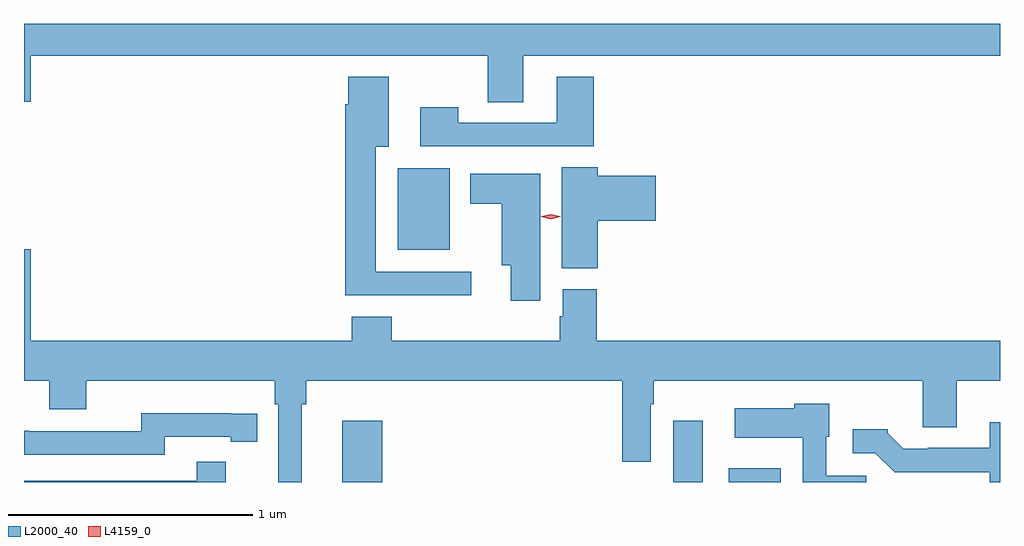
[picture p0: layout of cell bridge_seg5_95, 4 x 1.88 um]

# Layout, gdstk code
import gdstk
lib = gdstk.Library(unit=1e-6, precision=1e-09)
def R(c, l, rs):  # rectangles x0, y0, x1, y1
    for r in rs: c.add(gdstk.rectangle(r[:2], r[2:], *l))
def P(c, l, *ps):  # polygons
    for p in ps: c.add(gdstk.Polygon(p, *l))
L2000_40 = (2000, 40)
L4159_0 = (4159, 0)

bridge_seg5_95 = lib.new_cell('bridge_seg5_95')
R(bridge_seg5_95, L2000_40, [(502.112,913.62,502.276,913.873), (503.468,913.62,503.59,913.873), (503.697,913.62,503.91,913.677), (502.34,914.573,502.552,914.908)])
P(bridge_seg5_95, L2000_40, [(502.855,915.368),(504.808,915.368),(504.808,915.5),(500.808,915.5),(500.808,915.18),(500.836,915.18),(500.836,915.368),(502.708,915.368),(502.708,915.178),(502.855,915.178)],
  [(503.144,915.283),(502.991,915.283),(502.991,915.093),(502.587,915.093),(502.587,915.157),(502.431,915.157),(502.431,914.997),(503.144,914.997)],
  [(502.642,914.484),(502.249,914.484),(502.249,914.996),(502.303,914.996),(502.303,915.283),(502.136,915.283),(502.136,915.17),(502.124,915.17),(502.124,914.387),(502.642,914.387)],
  [(503.159,914.693),(503.398,914.693),(503.398,914.876),(503.159,914.876),(503.159,914.912),(503.012,914.912),(503.012,914.497),(503.159,914.497)],
  [(502.924,914.884),(502.637,914.884),(502.637,914.762),(502.766,914.762),(502.766,914.51),(502.802,914.51),(502.802,914.364),(502.924,914.364)],
  [(500.836,914.575),(500.808,914.575),(500.808,914.036),(500.912,914.036),(500.912,913.919),(501.064,913.919),(501.064,914.036),(501.836,914.036),(501.836,913.94),(501.849,913.94),(501.849,913.62),(501.946,913.62),(501.946,913.94),(501.965,913.94),(501.965,914.036),(503.26,914.036),(503.26,913.704),(503.376,913.704),(503.376,913.94),(503.389,913.94),(503.389,914.036),(504.491,914.036),(504.491,913.846),(504.631,913.846),(504.631,914.036),(504.808,914.036),(504.808,914.2),(503.156,914.2),(503.156,914.412),(503.015,914.412),(503.015,914.301),(503.003,914.301),(503.003,914.2),(502.316,914.2),(502.316,914.299),(502.151,914.299),(502.151,914.2),(500.836,914.2)],
  [(504.259,913.647),(504.096,913.647),(504.096,913.806),(504.109,913.806),(504.109,913.942),(503.964,913.942),(503.964,913.924),(503.721,913.924),(503.721,913.802),(504,913.802),(504,913.62),(504.259,913.62)],
  [(501.384,913.806),(501.656,913.806),(501.656,913.786),(501.764,913.786),(501.764,913.902),(501.656,913.902),(501.656,913.903),(501.288,913.903),(501.288,913.83),(500.828,913.83),(500.828,913.832),(500.808,913.832),(500.808,913.734),(501.384,913.734)],
  [(504.808,913.867),(504.767,913.867),(504.767,913.761),(504.511,913.761),(504.511,913.758),(504.412,913.758),(504.348,913.822),(504.348,913.837),(504.204,913.837),(504.204,913.74),(504.297,913.74),(504.376,913.662),(504.765,913.662),(504.765,913.62),(504.808,913.62)],
  [(501.635,913.705),(501.517,913.705),(501.517,913.626),(500.808,913.626),(500.808,913.62),(501.635,913.62)])
P(bridge_seg5_95, L4159_0, [(502.967,914.699),(502.928,914.709),(502.928,914.709),(502.928,914.71),(502.967,914.719),(503.006,914.71),(503.006,914.709),(503.006,914.709)])

lib.write_gds('bridge_seg5_95.gds')
